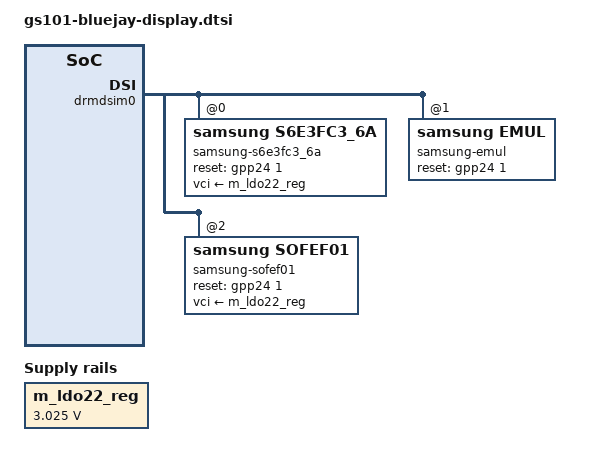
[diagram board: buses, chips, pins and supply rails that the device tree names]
// SPDX-License-Identifier: GPL-2.0-only
/*
 * Google GS101 Bluejay-specific display device tree source
 *
 * Copyright (c) 2021 Google, LLC
 *
 */

#include <dt-bindings/gpio/gpio.h>

&drmdsim0 {
	status = "ok";
	#address-cells = <1>;
	#size-cells = <0>;

	samsung_s6e3fc3_6a: panel@0 {
		compatible = "samsung,s6e3fc3_6a";
		label = "samsung-s6e3fc3_6a";
		channel = <0>;
		touch = <&spitouch>;

		/* reset, power */
		reset-gpios = <&gpp24 1 GPIO_ACTIVE_HIGH>;
		vci-supply = <&m_ldo22_reg>;
		/delete-node/ vddi-supply;
	};

	panel@1 {
		compatible = "samsung,emul";
		label = "samsung-emul";
		channel = <0>;

		/* reset, power */
		reset-gpios = <&gpp24 1 GPIO_ACTIVE_HIGH>;
	};

	samsung_sofef01: panel@2 {
		compatible = "samsung,sofef01";
		label = "samsung-sofef01";
		channel = <0>;
		touch = <&spitouch>;

		/* reset, power */
		reset-gpios = <&gpp24 1 GPIO_ACTIVE_HIGH>;
		vci-supply = <&m_ldo22_reg>;
		/delete-node/ vddi-supply;
	};

};

&drmdsim1 {
	status = "disabled";
};

&dsim_modes {
	dsim-modes {
		1080x2400 {
			mode-name = "1080x2400";
			pmsk = <
				0x2 0xDF 0x3 0xA800 /* p m s k */
				>;
			hs-clk = <684>;
			esc-clk = <20>;
		};
	};
};

/* vci-supply voltage for drmdsim0 */
&m_ldo22_reg {
	regulator-min-microvolt = <3025000>;
	regulator-max-microvolt = <3025000>;
};
